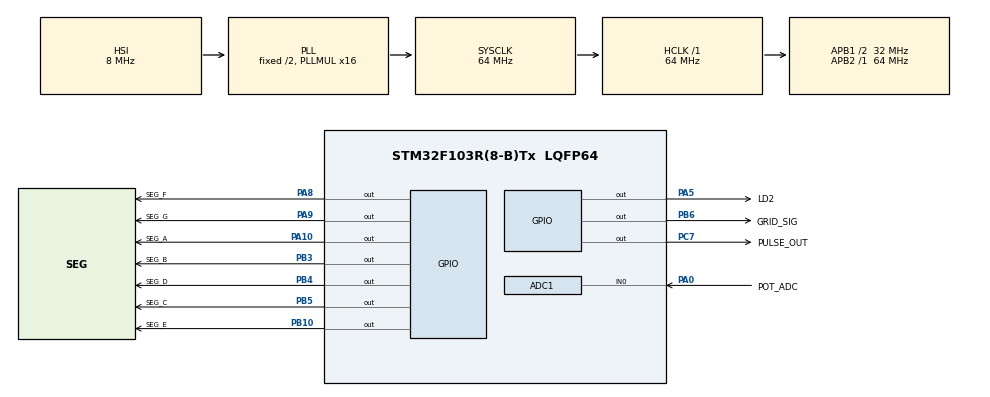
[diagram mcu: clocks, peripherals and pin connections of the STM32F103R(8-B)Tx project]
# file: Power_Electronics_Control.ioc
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ADC1.Channel-0\#ChannelRegularConversion=ADC_CHANNEL_0
ADC1.ContinuousConvMode=ENABLE
ADC1.NbrOfConversionFlag=1
ADC1.Rank-0\#ChannelRegularConversion=1
ADC1.SamplingTime-0\#ChannelRegularConversion=ADC_SAMPLETIME_1CYCLE_5
ADC1.master=1
Mcu.Family=STM32F1
Mcu.Name=STM32F103R(8-B)Tx
Mcu.Package=LQFP64
NVIC.PriorityGroup=NVIC_PRIORITYGROUP_4
PA0-WKUP.GPIO_Label=POT_ADC
PA0-WKUP.Signal=ADCx_IN0
PA10.GPIO_Label=SEG_A
PA10.Signal=GPIO_Output
PA13.Mode=Serial_Wire
PA13.Signal=SYS_JTMS-SWDIO
PA14.Mode=Serial_Wire
PA14.Signal=SYS_JTCK-SWCLK
PA5.GPIO_Label=LD2
PA5.Signal=GPIO_Output
PA8.GPIO_Label=SEG_F
PA8.Signal=GPIO_Output
PA9.GPIO_Label=SEG_G
PA9.Signal=GPIO_Output
PB10.GPIO_Label=SEG_E
PB10.Signal=GPIO_Output
PB3.GPIO_Label=SEG_B
PB3.Signal=GPIO_Output
PB4.GPIO_Label=SEG_D
PB4.Signal=GPIO_Output
PB5.GPIO_Label=SEG_C
PB5.Signal=GPIO_Output
PB6.GPIO_Label=GRID_SIG
PB6.Signal=GPIO_Output
PC7.GPIO_Label=PULSE_OUT
PC7.Signal=GPIO_Output
ProjectManager.HeapSize=0x200
ProjectManager.StackSize=0x400
ProjectManager.TargetToolchain=STM32CubeIDE
RCC.ADCPresc=RCC_ADCPCLK2_DIV6
RCC.AHBFreq_Value=64000000
RCC.APB1CLKDivider=RCC_HCLK_DIV2
RCC.APB1Freq_Value=32000000
RCC.APB1TimFreq_Value=64000000
RCC.APB2Freq_Value=64000000
RCC.APB2TimFreq_Value=64000000
RCC.HCLKFreq_Value=64000000
RCC.PLLMUL=RCC_PLL_MUL16
RCC.SYSCLKFreq_VALUE=64000000
RCC.SYSCLKSource=RCC_SYSCLKSOURCE_PLLCLK
RCC.USBFreq_Value=64000000
SH.ADCx_IN0.0=ADC1_IN0,IN0
board=custom

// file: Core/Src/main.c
/* USER CODE BEGIN Header */
/**
  ******************************************************************************
  * @file           : main.c
  * @brief          : Main program body
  ******************************************************************************
  * @attention
  *
  * Copyright (c) 2026 STMicroelectronics.
  * All rights reserved.
  *
  * This software is licensed under terms that can be found in the LICENSE file
  * in the root directory of this software component.
  * If no LICENSE file comes with this software, it is provided AS-IS.
  *
  ******************************************************************************
  */
/* USER CODE END Header */
#include "main.h"
#include "adc.h"
#include "gpio.h"

void SystemClock_Config(void);

/* USER CODE BEGIN 0 */

void displayDigit(uint8_t digit) {
    // Önce tüm segmentleri söndür (Temizle)
    HAL_GPIO_WritePin(GPIOA, SEG_A_Pin|SEG_F_Pin|SEG_G_Pin, GPIO_PIN_RESET);
    HAL_GPIO_WritePin(GPIOB, SEG_B_Pin|SEG_C_Pin|SEG_D_Pin|SEG_E_Pin, GPIO_PIN_RESET);

    // Rakamlara göre segmentleri yak (Ortak Katot: SET = YANAR)
    switch(digit) {
        case 0: HAL_GPIO_WritePin(GPIOA, SEG_A_Pin|SEG_F_Pin, GPIO_PIN_SET);
                HAL_GPIO_WritePin(GPIOB, SEG_B_Pin|SEG_C_Pin|SEG_D_Pin|SEG_E_Pin, GPIO_PIN_SET); break;
        case 1: HAL_GPIO_WritePin(GPIOB, SEG_B_Pin|SEG_C_Pin, GPIO_PIN_SET); break;
        case 2: HAL_GPIO_WritePin(GPIOA, SEG_A_Pin|SEG_G_Pin, GPIO_PIN_SET);
                HAL_GPIO_WritePin(GPIOB, SEG_B_Pin|SEG_D_Pin|SEG_E_Pin, GPIO_PIN_SET); break;
        case 3: HAL_GPIO_WritePin(GPIOA, SEG_A_Pin|SEG_G_Pin, GPIO_PIN_SET);
                HAL_GPIO_WritePin(GPIOB, SEG_B_Pin|SEG_C_Pin|SEG_D_Pin, GPIO_PIN_SET); break;
        case 4: HAL_GPIO_WritePin(GPIOA, SEG_F_Pin|SEG_G_Pin, GPIO_PIN_SET);
                HAL_GPIO_WritePin(GPIOB, SEG_B_Pin|SEG_C_Pin, GPIO_PIN_SET); break;
        case 5: HAL_GPIO_WritePin(GPIOA, SEG_A_Pin|SEG_F_Pin|SEG_G_Pin, GPIO_PIN_SET);
                HAL_GPIO_WritePin(GPIOB, SEG_C_Pin|SEG_D_Pin, GPIO_PIN_SET); break;
        case 6: HAL_GPIO_WritePin(GPIOA, SEG_A_Pin|SEG_F_Pin|SEG_G_Pin, GPIO_PIN_SET);
                HAL_GPIO_WritePin(GPIOB, SEG_C_Pin|SEG_D_Pin|SEG_E_Pin, GPIO_PIN_SET); break;
        case 7: HAL_GPIO_WritePin(GPIOA, SEG_A_Pin, GPIO_PIN_SET);
                HAL_GPIO_WritePin(GPIOB, SEG_B_Pin|SEG_C_Pin, GPIO_PIN_SET); break;
        case 8: HAL_GPIO_WritePin(GPIOA, SEG_A_Pin|SEG_F_Pin|SEG_G_Pin, GPIO_PIN_SET);
                HAL_GPIO_WritePin(GPIOB, SEG_B_Pin|SEG_C_Pin|SEG_D_Pin|SEG_E_Pin, GPIO_PIN_SET); break;
        case 9: HAL_GPIO_WritePin(GPIOA, SEG_A_Pin|SEG_F_Pin|SEG_G_Pin, GPIO_PIN_SET);
                HAL_GPIO_WritePin(GPIOB, SEG_B_Pin|SEG_C_Pin|SEG_D_Pin, GPIO_PIN_SET); break;
    }
}

/* USER CODE END 0 */

int main(void)
{

  /* MCU Configuration--------------------------------------------------------*/

  /* Reset of all peripherals, Initializes the Flash interface and the Systick. */
  HAL_Init();

  /* Configure the system clock */
  SystemClock_Config();

  /* Initialize all configured peripherals */
  MX_GPIO_Init();
  MX_ADC1_Init();
  /* USER CODE BEGIN 2 */

  HAL_GPIO_WritePin(SEG_A_GPIO_Port, SEG_A_Pin, GPIO_PIN_SET);
  HAL_GPIO_WritePin(SEG_B_GPIO_Port, SEG_B_Pin, GPIO_PIN_SET);
  HAL_GPIO_WritePin(SEG_C_GPIO_Port, SEG_C_Pin, GPIO_PIN_SET);
  HAL_GPIO_WritePin(SEG_D_GPIO_Port, SEG_D_Pin, GPIO_PIN_SET);
  HAL_GPIO_WritePin(SEG_E_GPIO_Port, SEG_E_Pin, GPIO_PIN_SET);
  HAL_GPIO_WritePin(SEG_F_GPIO_Port, SEG_F_Pin, GPIO_PIN_SET);
  HAL_GPIO_WritePin(SEG_G_GPIO_Port, SEG_G_Pin, GPIO_PIN_SET);

  /* USER CODE END 2 */

  /* Infinite loop */
  while (1)
  {

    /* USER CODE BEGIN 3 */

	  // 1. ADC Değerini Oku (Potansiyometre)
	    HAL_ADC_Start(&hadc1);
	    HAL_ADC_PollForConversion(&hadc1, 10);
	    uint32_t pot_val = HAL_ADC_GetValue(&hadc1); // 0 - 4095 arası değer

	    // 2. Display Güncelle (0-9 arası kademe)
	    uint8_t digit = pot_val / 410; // 4095/10 yaklasık 410
	    displayDigit(digit);

	    // 3. Tetikleme Gecikmesini Hesapla (ms cinsinden)
	    // 50Hz periyot 20ms. Yarım dalga 10ms.
	    // Gecikme = (Pot / 4095) * 10 ms
	    uint32_t delay_time = (pot_val * 10) / 4095;

	    // 4. Sanal Şebeke ve Tetikleme (Sanal Zero-Crossing)
	    HAL_GPIO_WritePin(GRID_SIG_GPIO_Port, GRID_SIG_Pin, GPIO_PIN_SET); // Pozitif Alternans Başladı

	    HAL_Delay(delay_time); // Tetikleme açısı (alfa) kadar bekle

	    // Tristörü tetikle (Kısa bir darbe gönder)
	    HAL_GPIO_WritePin(PULSE_OUT_GPIO_Port, PULSE_OUT_Pin, GPIO_PIN_SET);
	    HAL_Delay(1); // 1ms tetikleme genişliği
	    HAL_GPIO_WritePin(PULSE_OUT_GPIO_Port, PULSE_OUT_Pin, GPIO_PIN_RESET);

	    HAL_Delay(10 - delay_time - 1); // Pozitif alternansın kalanını tamamla

	    HAL_GPIO_WritePin(GRID_SIG_GPIO_Port, GRID_SIG_Pin, GPIO_PIN_RESET); // Negatif Alternans
	    HAL_Delay(10); // Negatif kısımda tetikleme olmaz

  }
  /* USER CODE END 3 */
}

void SystemClock_Config(void)
{
  RCC_OscInitTypeDef RCC_OscInitStruct = {0};
  RCC_ClkInitTypeDef RCC_ClkInitStruct = {0};
  RCC_PeriphCLKInitTypeDef PeriphClkInit = {0};

  /** Initializes the RCC Oscillators according to the specified parameters
  * in the RCC_OscInitTypeDef structure.
  */
  RCC_OscInitStruct.OscillatorType = RCC_OSCILLATORTYPE_HSI;
  RCC_OscInitStruct.HSIState = RCC_HSI_ON;
  RCC_OscInitStruct.HSICalibrationValue = RCC_HSICALIBRATION_DEFAULT;
  RCC_OscInitStruct.PLL.PLLState = RCC_PLL_ON;
  RCC_OscInitStruct.PLL.PLLSource = RCC_PLLSOURCE_HSI_DIV2;
  RCC_OscInitStruct.PLL.PLLMUL = RCC_PLL_MUL16;
  if (HAL_RCC_OscConfig(&RCC_OscInitStruct) != HAL_OK)
  {
    Error_Handler();
  }

  /** Initializes the CPU, AHB and APB buses clocks
  */
  RCC_ClkInitStruct.ClockType = RCC_CLOCKTYPE_HCLK|RCC_CLOCKTYPE_SYSCLK
                              |RCC_CLOCKTYPE_PCLK1|RCC_CLOCKTYPE_PCLK2;
  RCC_ClkInitStruct.SYSCLKSource = RCC_SYSCLKSOURCE_PLLCLK;
  RCC_ClkInitStruct.AHBCLKDivider = RCC_SYSCLK_DIV1;
  RCC_ClkInitStruct.APB1CLKDivider = RCC_HCLK_DIV2;
  RCC_ClkInitStruct.APB2CLKDivider = RCC_HCLK_DIV1;

  if (HAL_RCC_ClockConfig(&RCC_ClkInitStruct, FLASH_LATENCY_2) != HAL_OK)
  {
    Error_Handler();
  }
  PeriphClkInit.PeriphClockSelection = RCC_PERIPHCLK_ADC;
  PeriphClkInit.AdcClockSelection = RCC_ADCPCLK2_DIV6;
  if (HAL_RCCEx_PeriphCLKConfig(&PeriphClkInit) != HAL_OK)
  {
    Error_Handler();
  }
}

void Error_Handler(void)
{
  __disable_irq();
  while (1)
  {
  }
}
